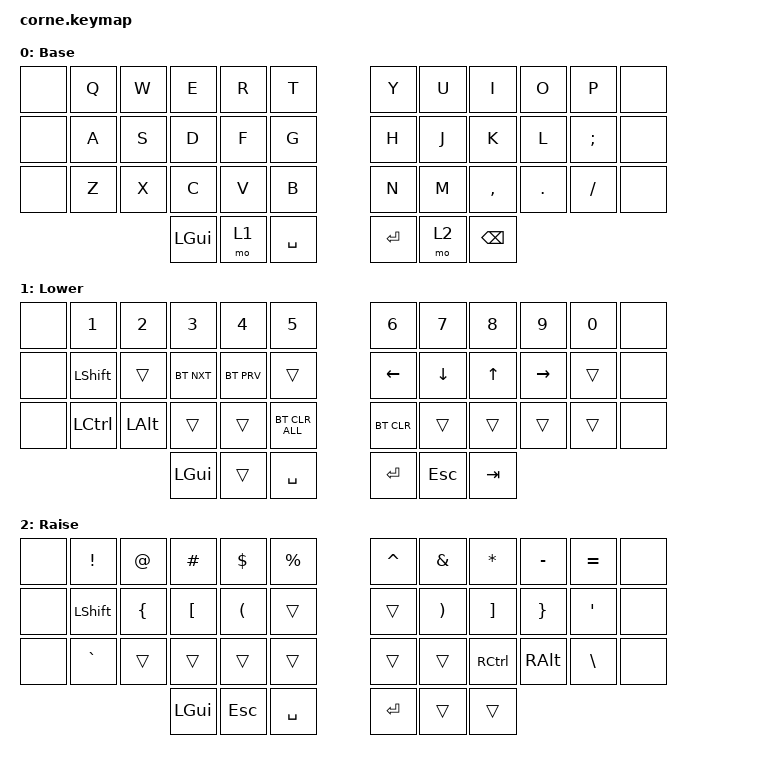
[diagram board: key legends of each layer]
/*
 * Copyright (c) 2020 The ZMK Contributors
 *
 * SPDX-License-Identifier: MIT
 */

#include <behaviors.dtsi>
#include <dt-bindings/zmk/keys.h>
#include <dt-bindings/zmk/bt.h>

/ {
        keymap {
                compatible = "zmk,keymap";

                default_layer {
                        display-name = "Base";
                        bindings = <
    &none &kp Q &kp W &kp E &kp R &kp T &kp Y &kp U  &kp I     &kp O   &kp P    &none
    &none &kp A &kp S &kp D &kp F &kp G &kp H &kp J  &kp K     &kp L   &kp SEMI &none
    &none &kp Z &kp X &kp C &kp V &kp B &kp N &kp M  &kp COMMA &kp DOT &kp FSLH &none
                  &kp LGUI &mo 1 &kp SPACE   &kp RET &mo 2 &kp BSPC
                        >;
                };
                lower_layer {
                        display-name = "Lower";
                        bindings = <
   &none &kp N1    &kp N2   &kp N3     &kp N4     &kp N5         &kp N6     &kp N7   &kp N8 &kp N9    &kp N0 &none
   &none &kp LSHFT &trans   &bt BT_NXT &bt BT_PRV &trans         &kp LEFT   &kp DOWN &kp UP &kp RIGHT &trans &none
   &none &kp LCTRL &kp LALT &trans     &trans     &bt BT_CLR_ALL &bt BT_CLR &trans   &trans &trans    &trans &none
                       &kp LGUI &trans &kp SPACE      &kp RET  &kp ESC   &kp TAB
                        >;
                };

                raise_layer {
                        display-name = "Raise";
                        bindings = <
   &none &kp EXCL  &kp AT   &kp HASH &kp DLLR &kp PRCNT   &kp CARET &kp AMPS &kp ASTRK &kp MINUS &kp EQUAL &none
   &none &kp LSHFT &kp LBRC &kp LBKT &kp LPAR &trans      &trans    &kp RPAR &kp RBKT  &kp RBRC  &kp SQT   &none
   &none &kp GRAVE &trans   &trans   &trans   &trans      &trans    &trans   &kp RCTL  &kp RALT  &kp BSLH  &none
                       &kp LGUI &kp ESC &kp SPACE   &kp RET   &trans    &trans
                        >;
                };
        };
};
